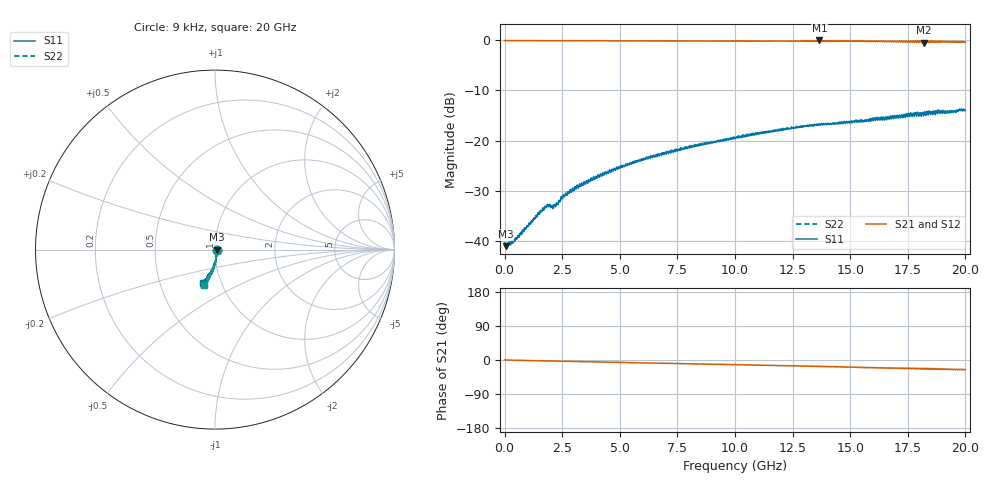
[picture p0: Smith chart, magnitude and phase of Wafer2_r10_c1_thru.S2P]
!  2-Port S-parameters saved by WinCal
! VAR MeasName=S-Parameters (CALIBRATED_DATA) read from VNA (P5004A)
! VAR MeasDate=24/04/2024 15:31:41
! VAR NAME=Wafer2_r10_c1_thru
! VAR FILENAME=Wafer2_r10_c1_thru.S2P
! VAR DATE=24/04/2024 15:31:41
! VAR PHYS_PORTS=1,2
! VAR ObjTypeName=DATASET
! VAR IndexType=Frequency
# Hz S MA R 50
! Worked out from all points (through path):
!   5000 points, 9 kHz to 20 GHz, reference 50 ohm
!   highest |S21| = -0.06 dB at 13.66 GHz (marker M1); lowest = -0.5 dB at 18.2 GHz (marker M2)
!   group delay of S21, straight-line fit = 3.51 ps
!   lowest |S11| = -40.9 dB at 40.02 MHz (marker M3), VSWR 1.02, Z = 50.9 - j0.0413 ohm
!   |S11| at or under -10 dB: start of sweep to end of sweep
!   |S22| runs from -40.9 to -13.7 dB; largest |S21 - S12| = 0.0096
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9000  0.009124 -2.2  0.9896 0.2  0.9903 0.2  0.00934 -3.3
4.001698e7  0.008965 -2.6  0.9906 -0.1  0.9908 -0.0  0.009271 -2.3
2.760641e8  0.009676 -18.0  0.9903 -0.4  0.9905 -0.4  0.009443 -19.0
5.281144e8  0.01065 -31.5  0.9903 -0.7  0.9907 -0.7  0.0108 -32.0
1.764361e9  0.02238 -68.4  0.9884 -2.3  0.9887 -2.3  0.02221 -68.6
1.868382e9  0.02302 -70.6  0.9878 -2.5  0.9878 -2.5  0.02305 -71.1
2.180444e9  0.02271 -71.1  0.9874 -2.7  0.9875 -2.7  0.02274 -72.0
2.556519e9  0.02911 -72.4  0.9893 -3.2  0.9893 -3.2  0.02864 -71.1
2.852578e9  0.03262 -74.7  0.9885 -3.5  0.9891 -3.6  0.03257 -74.5
3.336675e9  0.03719 -79.2  0.9861 -4.1  0.9861 -4.2  0.03722 -78.3
4.956998e9  0.05501 -84.9  0.9855 -6.3  0.9852 -6.3  0.05522 -84.1
6.66934e9  0.0735 -90.0  0.9873 -8.5  0.9871 -8.5  0.07319 -88.9
8.153636e9  0.08715 -93.1  0.9839 -10.0  0.9855 -10.0  0.09074 -92.5
1.0002e10  0.1064 -96.8  0.9764 -12.7  0.9758 -12.6  0.1085 -95.4
1.263853e10  0.136 -100.8  0.9787 -15.1  0.9772 -15.0  0.1381 -98.6
1.333467e10  0.1439 -101.6  0.9765 -15.7  0.977 -15.6  0.1441 -99.9
1.366274e10  0.1449 -103.2  0.9935 -16.9  0.9925 -17.0  0.1445 -101.2
1.666733e10  0.1657 -106.0  0.9731 -21.8  0.9702 -21.3  0.1717 -102.3
1.819564e10  0.1799 -105.6  0.9436 -22.7  0.9476 -22.3  0.1865 -104.3
1.886777e10  0.1933 -109.9  0.9634 -24.6  0.9593 -24.5  0.1921 -106.4
1.953991e10  0.1992 -108.7  0.9717 -25.5  0.9696 -25.6  0.1936 -107.2
2e10  0.2003 -109.1  0.9584 -24.8  0.9616 -24.8  0.2048 -107.7
